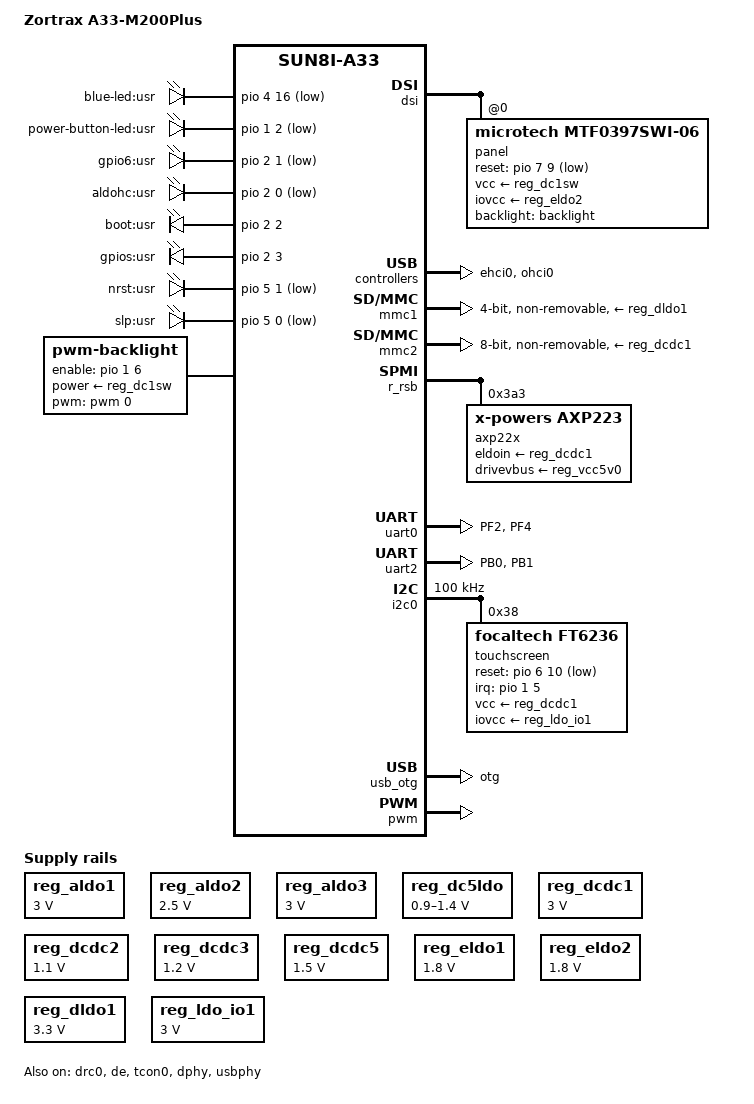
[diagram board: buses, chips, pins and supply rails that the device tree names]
/*
 * Copyright 2016 - Patrick Areny <pataraign@gmail.com>
 *
 *
 * This file is dual-licensed: you can use it either under the terms
 * of the GPL or the X11 license, at your option. Note that this dual
 * licensing only applies to this file, and not this project as a
 * whole.
 *
 *  a) This file is free software; you can redistribute it and/or
 *     modify it under the terms of the GNU General Public License as
 *     published by the Free Software Foundation; either version 2 of the
 *     License, or (at your option) any later version.
 *
 *     This file is distributed in the hope that it will be useful,
 *     but WITHOUT ANY WARRANTY; without even the implied warranty of
 *     MERCHANTABILITY or FITNESS FOR A PARTICULAR PURPOSE.  See the
 *     GNU General Public License for more details.
 *
 * Or, alternatively,
 *
 *  b) Permission is hereby granted, free of charge, to any person
 *     obtaining a copy of this software and associated documentation
 *     files (the "Software"), to deal in the Software without
 *     restriction, including without limitation the rights to use,
 *     copy, modify, merge, publish, distribute, sublicense, and/or
 *     sell copies of the Software, and to permit persons to whom the
 *     Software is furnished to do so, subject to the following
 *     conditions:
 *
 *     The above copyright notice and this permission notice shall be
 *     included in all copies or substantial portions of the Software.
 *
 *     THE SOFTWARE IS PROVIDED "AS IS", WITHOUT WARRANTY OF ANY KIND,
 *     EXPRESS OR IMPLIED, INCLUDING BUT NOT LIMITED TO THE WARRANTIES
 *     OF MERCHANTABILITY, FITNESS FOR A PARTICULAR PURPOSE AND
 *     NONINFRINGEMENT. IN NO EVENT SHALL THE AUTHORS OR COPYRIGHT
 *     HOLDERS BE LIABLE FOR ANY CLAIM, DAMAGES OR OTHER LIABILITY,
 *     WHETHER IN AN ACTION OF CONTRACT, TORT OR OTHERWISE, ARISING
 *     FROM, OUT OF OR IN CONNECTION WITH THE SOFTWARE OR THE USE OR
 *     OTHER DEALINGS IN THE SOFTWARE.
 */

/dts-v1/;
#include "sun8i-a33.dtsi"
#include "sunxi-common-regulators.dtsi"

#include <dt-bindings/gpio/gpio.h>
#include <dt-bindings/pwm/pwm.h>

/ {
	model = "Zortrax A33-M200Plus";
	compatible = "zortrax,a33-m200plus","allwinner,sun8i-a33";

	aliases {
		serial0 = &uart0;   // Console on PF2 and PF4
        serial2 = &uart2;   // MCU connection on PB0 and PB1, if not properly configured, it will mix with UART1 and mess up the uboot console
	};

	chosen {
		stdout-path = "serial0:115200n8";
	};

    leds {
		compatible = "gpio-leds";

		led-green {
			label = "blue-led:usr";
			gpios = <&pio 4 16 GPIO_ACTIVE_LOW>;  // PE16: port E (4), pin 16
		};
		// The power button led control
        power-button-led {
			label = "power-button-led:usr";
			gpios = <&pio 1 2 GPIO_ACTIVE_LOW>;   // PB02: port B (1), pin 2
		};
        
        // Those are not leds but reusing the gpio-leds driver to export them
		led-gpio6 {
			label = "gpio6:usr";
			gpios = <&pio 2 1 GPIO_ACTIVE_LOW>;   // PC01: port C (2), pin 1
		};

		led-aldohc {
			label = "aldohc:usr";
			gpios = <&pio 2 0 GPIO_ACTIVE_LOW>;   // PC00: port C (2), pin 0
		};

		led-boot {
			label = "boot:usr";
			gpios = <&pio 2 2 GPIO_ACTIVE_HIGH>;  // PC02: port C (2), pin 2
		};

		led-gpios {
			label = "gpios:usr";
			gpios = <&pio 2 3 GPIO_ACTIVE_HIGH>;  // PC03: port C (2), pin 3
		};

		led-nrst {
			label = "nrst:usr";
			gpios = <&pio 5 1 GPIO_ACTIVE_LOW>;   // PF01: port F (5), pin 1
		};

		led-slp {
			label = "slp:usr";
			gpios = <&pio 5 0 GPIO_ACTIVE_LOW>;   // PF00: port F (5), pin 0
		};
};
/*
	The mainline kernel has no suport for csi on A33
	csi: camera@1cb0000 {
		compatible = "allwinner,sun8i-a83t-csi";
		reg = <0x01cb0000 0x1000>;
		interrupts = <GIC_SPI 84 IRQ_TYPE_LEVEL_HIGH>;
		clocks = <&ccu CLK_BUS_CSI>,
				<&ccu CLK_CSI_SCLK>,
				<&ccu CLK_DRAM_CSI>;
		clock-names = "bus", "mod", "ram";
		resets = <&ccu RST_BUS_CSI>;
		status = "okay";
		pinctrl-names = "default";
		pinctrl-0 = <&csi_8bit_parallel_pins>;
		port {
			csi_ep: endpoint {
				remote-endpoint = <&gc2145>;
				bus-width = <8>;
				data-shift = <0>;
				hsync-active = <0>;
				vsync-active = <0>;
				pclk-sample = <1>;
			};
		};
	};*/

	backlight: backlight {
		status = "okay";
		compatible = "pwm-backlight";
		pwms = <&pwm 0 50000 PWM_POLARITY_INVERTED>;
		brightness-levels = <0 1 2 3 4 5 6 7 8 9 10 >;
		default-brightness-level = <8>;
		enable-gpios = <&pio 1 6 GPIO_ACTIVE_HIGH>; // PB06
		power-supply = <&reg_dc1sw>;
	};
};

// No audio
&codec {
	status = "disabled";
};

&drc0 {
    status = "okay";
};

&de {
	status = "okay";
};

// gitk config/kernel/linux-sunxi-current.config
// and do not forget to enable CONFIG_TOUCHSCREEN_EDT_FT5X06=y
// this page is great https://docs.armsom.org/interface-usage/screen
// dtc -I fs /proc/device-tree > devicetree.txt
// apt update && sudo apt install libdrm-tests mesa-utils kmscube
//
// https://youtu.be/ML3nHiRdyWw?si=DvBYjZZ03krspNuh
&dsi {
	status = "okay";
	vcc-dsi-supply = <&reg_eldo1>;

	panel@0 {
		status = "okay";
		compatible = "microtech,mtf0397swi-06";
		reg = <0>;
		vcc-supply = <&reg_dc1sw>;
		iovcc-supply = <&reg_eldo2>;
		reset-gpios = <&pio 7 9 GPIO_ACTIVE_LOW>; // PH09
		backlight = <&backlight>;
	};
};

&tcon0 {
	status = "okay";
};

// Mipi dsi dphy
&dphy {
    status = "okay";
};

// Digital Audio Interface
&dai {
	status = "disabled";
};

&ehci0 {
	status = "okay";
};

&ohci0 {
	status = "okay";
};

/* 
// The SDIO pins are not connected.
&mmc0 {
	vmmc-supply = <&reg_dcdc1>;
	bus-width = <4>;
	//cd-gpios = <&pio 1 4 GPIO_ACTIVE_LOW>; PB4
	status = "okay";
};
*/

// For the Wifi chip on rev 1.1
&mmc1 {
	pinctrl-names = "default";
	pinctrl-0 = <&mmc1_pg_pins>;
	vmmc-supply = <&reg_dldo1>;
	bus-width = <4>;
	non-removable;
	status = "okay";
};

&mmc2 {
	pinctrl-names = "default";
	pinctrl-0 = <&mmc2_8bit_pins>;
	vmmc-supply = <&reg_dcdc1>;
	bus-width = <8>;
	non-removable;
	cap-mmc-hw-reset;
	status = "okay";
};

&mmc2_8bit_pins {
	// Increase drive strength for DDR modes
	drive-strength = <40>;
};

&r_rsb {
	status = "okay";
	clock-frequency = <1000000>;

	axp22x: pmic@3a3 {
		compatible = "x-powers,axp223";
		reg = <0x3a3>;
		interrupt-parent = <&r_intc>;
		interrupts = <0 IRQ_TYPE_LEVEL_LOW>;
		eldoin-supply = <&reg_dcdc1>;
		drivevbus-supply = <&reg_vcc5v0>;
		x-powers,drive-vbus-en;
	};
};

#include "axp223.dtsi"

&ac_power_supply {
	status = "okay";
};

&battery_power_supply {
	status = "okay";
};

&reg_aldo1 {
	regulator-always-on;
	regulator-min-microvolt = <3000000>;
	regulator-max-microvolt = <3000000>;
	regulator-name = "vcc-io";
};

&reg_aldo2 {
	regulator-always-on;
	regulator-min-microvolt = <2500000>;
	regulator-max-microvolt = <2500000>;
	regulator-name = "vdd-dll";
};

&reg_aldo3 {
	regulator-always-on;
	regulator-min-microvolt = <3000000>;
	regulator-max-microvolt = <3000000>;
	regulator-name = "vcc-pll-avcc";
};

&reg_dc5ldo {
	regulator-always-on;
	regulator-min-microvolt = <900000>;
	regulator-max-microvolt = <1400000>;
	regulator-name = "vdd-cpus";
};

&reg_dcdc1 {
	regulator-always-on;
	regulator-min-microvolt = <3000000>;
	regulator-max-microvolt = <3000000>;
	regulator-name = "vcc-3v0";
};

&reg_dcdc2 {
	regulator-always-on;
	regulator-min-microvolt = <1100000>;
	regulator-max-microvolt = <1100000>;
	regulator-name = "vdd-sys";
};

&reg_dcdc3 {
	regulator-always-on;
	regulator-min-microvolt = <1200000>;
	regulator-max-microvolt = <1200000>;
	regulator-name = "vdd-cpu";
};

&reg_dcdc5 {
	regulator-always-on;
	regulator-min-microvolt = <1500000>;
	regulator-max-microvolt = <1500000>;
	regulator-name = "vcc-dram";
};

// rf section in the fex file
&reg_eldo1 {
	regulator-always-on;
	regulator-min-microvolt = <1800000>;
	regulator-max-microvolt = <1800000>;
	regulator-name = "vcc-dsi";
};

// Related to lcd and dsi power
&reg_eldo2 {
	regulator-always-on;
	regulator-min-microvolt = <1800000>;
	regulator-max-microvolt = <1800000>;
	regulator-name = "vcc-dsi-iovcc";
};

// Used by the camera in the fex file
&reg_eldo3 {
	status = "disabled"; // replace with regulator-always-on; if the camera is on
	regulator-min-microvolt = <2800000>;
	regulator-max-microvolt = <2800000>;
	regulator-name = "vcc-2v8-csi";
};

&reg_dldo1 {
	regulator-min-microvolt = <3300000>;
	regulator-max-microvolt = <3300000>;
	regulator-name = "vcc-3V3-Wifi_unused";
};

// Wifi chip (not on rev2.&, and you will use a usb wifi dongle instead on rev 1.1)
&reg_dldo2 {
	status = "disabled";
	regulator-min-microvolt = <1800000>;
	regulator-max-microvolt = <1800000>;
	regulator-name = "vcc-1v8-unknownusage_2";
};

// Disabled if no camera connected
&reg_dldo3 {
	status = "disabled"; // remove if the camera is on
	regulator-min-microvolt = <2800000>;
	regulator-max-microvolt = <2800000>;
	regulator-name = "iovdd-2v8-csi";
};

// Disable otherwise the gpio ldo won't output anything
&axp_gpio {
	status = "disabled";
};

&reg_ldo_io0 {
	regulator-always-on;
	regulator-min-microvolt = <2800000>;
	regulator-max-microvolt = <2800000>;
	regulator-name = "ldo_csiavdd";
	status = "disabled"; // remove if the camera is on
};

&reg_ldo_io1 {
	regulator-always-on;
	regulator-min-microvolt = <3000000>;
	regulator-max-microvolt = <3000000>;
	regulator-name = "i2c0-iovcc";
 	status = "okay";
 };

&reg_dc1sw {
	regulator-name = "vcc-lcd";
};

&reg_drivevbus {
	regulator-name = "usb0-vbus";
	status = "okay";
};

&reg_rtc_ldo {
	regulator-name = "vcc-rtc";
};

&usb_power_supply {
    status = "okay";
};

&sound {
 	status = "disabled";
};

// On the a23-a33 dtsi, the UART is on the PF2 and PF4 like in the fex file
// However sun8i-a33.dsi sets it to PB0 and PB1 and it works, we have the console anyway.
// It is because it mixes uart1 and uart2 on PB0 and PB1
&uart0 {
	pinctrl-names = "default";
	pinctrl-0 = <&uart0_pf_pins>;
	status = "okay";
};

// Disabled bluetooth but uses some pins
/*
&uart1 {
	pinctrl-names = "default";
	pinctrl-0 = <&uart1_xfer &uart1_cts &uart1_rts>;
	uart-has-rtscts;
	status = "disabled";

	bluetooth {
		compatible = "brcm,bcm4345c5";
		clocks = <&r 1>;
		clock-names = "lpo";
		max-speed = <1500000>;
		pinctrl-names = "default";
		pinctrl-0 = <&bt_host_wake_pin &bt_wake_pin &bt_reset_pin>;
		vbat-supply = <&wifi_bat>;
		vddio-supply = <&vcc_wl>;
	};
};
*/

&uart2 {
	pinctrl-names = "default";
	pinctrl-0 = <&uart2_pb_pins>;
	status = "okay";
};

/*
[gpio_para]
gpio_used = 1
gpio_pin_1 = port:PB02<1><default><default><0>  pin 3 on P4 -> power button LED
gpio_pin_2 = port:PB03<1><default><default><0>  ?
gpio_pin_3 = port:PE17<1><default><default><1>  ?
gpio_pin_4 = port:PH01<1><default><default><0>  PIN_VALUE_FILE="/sys/class/gpio_sw/PH1/data" 1=USB_slave 0=USB Host in usb_mode_script.sh -> connected to usb ID pin 49 PH08 of the SOM
gpio_pin_5 = port:PC01<1><default><default><0>  Pin named GPIO on P3
gpio_pin_6 = port:PC00<1><default><default><0>  Pin named ALDOHC on P3
gpio_pin_7 = port:PC02<1><default><default><1>  Pin named BOOT on P3
gpio_pin_8 = port:PC03<0><1><default><0>        Pin named GPIOS on P3
gpio_pin_9 = port:PF01<1><default><default><0>  Pin named NRST on P3
gpio_pin_10 = port:PF00<1><default><default><0> Pin named SLP on P3

In uboot:
gpio set 225      # Set PH01 high 1=USB_slave
gpio clear 225    # Set PH01 low  0=USB Host
gpio input 225    # Set PH01 as input (tristate)

p3 = +3V SW LED GND GND GND DP DN VBUS VBUS
SW seems unconnected to the SOM, hence the useless switch on the printer, probably that they did not latch the power off state.

SOM's USBDRVVBUS goes to a transistor that powers VBUS or not

        interrupt-parent = <&pio>;
		interrupts = <1 5 IRQ_TYPE_EDGE_FALLING>; // PB05: port B (1), pin 5

*/

&i2c0 {
	clock-frequency = <100000>;
    status = "okay";

    touchscreen@38 {
        compatible = "focaltech,ft6236";
        reg = <0x38>;
		interrupt-parent = <&pio>;
		interrupts = <1 5 IRQ_TYPE_EDGE_FALLING>; // PB05: port B (1), pin 5
		reset-gpios = <&pio 6 10 GPIO_ACTIVE_LOW>; // PG10: port G (6), pin 10
		vcc-supply = <&reg_dcdc1>;
		iovcc-supply = <&reg_ldo_io1>;
        touchscreen-size-x = <480>;
        touchscreen-size-y = <800>;
        touchscreen-swapped-x-y;
        wakeup-source;
        status = "okay";
    };
};

/* The mainline kernel has no suport for csi on A33
&i2c1 {
    status = "okay";

	camera@42 {
		compatible = "galaxycore,gc2145";
		reg = <0x42>;
		clocks = <&clk_ext_camera>;
		iovdd-supply = <&reg_dldo3>;
		avdd-supply = <&reg_ldo_io0>;
		dvdd-supply = <&reg_eldo2>;
		powerdown-gpios = <&pio 4 14 (GPIO_ACTIVE_LOW | GPIO_PUSH_PULL)>; // PE14
		reset-gpios = <&pio 4 15 (GPIO_ACTIVE_LOW | GPIO_PUSH_PULL)>; // PE15

		port {
			endpoint {
				remote-endpoint = <&mipid02_0>;
				data-lanes = <1 2>;
				link-frequencies = /bits/ 64 <120000000 192000000 240000000>;
			};
		};
	};
};*/

&usb_otg {
	dr_mode = "otg";
	status = "okay";
};

&usb_power_supply {
	status = "okay";
};

&usbphy {
	compatible = "allwinner,sun8i-a23-usb-phy";
    usb0_id_det-gpios = <&pio 7 8 GPIO_ACTIVE_HIGH>; // PH08: port H (7), pin 8
	// VBUS detection from AXP221 internally, no AXP223 GPIO is connected to VBUS
	// does not work usb0_vbus_det-gpio = <&axp_gpio 1 GPIO_ACTIVE_HIGH>; // AXP221 GPIO1 has also the POWER label and toggles at the same time as VBUS on kernel start
	//usb0_vbus_det-gpio = <&axp_gpio 0 GPIO_ACTIVE_HIGH>;
	// Non sense pin
	//usb0_vbus_det-gpio = <&pio 1 3 GPIO_ACTIVE_HIGH>; // PB3 does not work neither
    usb0_vbus-supply = <&reg_dcdc1>;
	//usb1_vbus-supply = <&usb_power_supply>; // USB1 VBUS is always on
    status = "okay";
};

&pwm {
	pinctrl-names = "default";
	pinctrl-0 = <&pwm0_pin>;
	status = "okay";
};

&pio {
    vcc-pa-supply = <&reg_dcdc1>;
    vcc-pb-supply = <&reg_dcdc1>;
    vcc-pc-supply = <&reg_dcdc1>;
    vcc-pd-supply = <&reg_dcdc1>;
    vcc-pe-supply = <&reg_dcdc1>;
    vcc-pf-supply = <&reg_dcdc1>;
    vcc-pg-supply = <&reg_dcdc1>;
	vcc-ph-supply = <&reg_dcdc1>;
	vcc-pl-supply = <&reg_dcdc1>;

    //vcc-pl-supply = <&reg_dldo1>; // Not clear, but reg not found in the kernel start

	uart0_pf_pins: uart0-pf-pins {
		allwinner,pins = "PF2", "PF4";
		allwinner,function = "uart0";
	};

    // MCU connection: PB0/PB1 used for UART2
    uart2_pb_pins: uart2-pb-pins {
		allwinner,pins = "PB0", "PB1";
		allwinner,function = "uart2";
	};
/*
	/omit-if-no-ref/
	csi_8bit_parallel_pins: csi-8bit-parallel-pins {
		pins = "PE0", "PE2", "PE3", "PE6", "PE7",
				"PE8", "PE9", "PE10", "PE11",
				"PE12", "PE13";
		function = "csi";
	};

	/omit-if-no-ref/
	csi_mclk_pin: csi-mclk-pin {
		pins = "PE1";
		function = "csi";
	};*/

/*
    /* PB3 "Clear To Send" in conflict with power button led gpio...
    uart2_cts_rts_pb_pins: uart2-cts-rts-pb-pins {
        pins = "PB2", "PB3";
        function = "uart2";
    };
    */
	/*
    wifi_pwrseq: wifi-pwrseq {
        compatible = "mmc-pwrseq-simple";
        reset-gpios = <&pio 11 6 GPIO_ACTIVE_HIGH>; // PL6
    };

	mmc_pwrseq: mmc-pwrseq {
		compatible = "mmc-pwrseq-simple";
		reset-gpios = <&pio 2 16 GPIO_ACTIVE_HIGH>; // PC16
	};
	*/
    /*
	wireless-bluetooth {
		bt_wake_pin: bt-wake-pin {
			allwinner,pins = <11 10 GPIO_ACTIVE_HIGH &pcfg_pull_none>;
		};

		bt_host_wake_pin: bt-host-wake-pin {
			allwinner,pins = <11 9 GPIO_ACTIVE_HIGH &pcfg_pull_none>;
		};

		bt_reset_pin: bt-reset-pin {
			allwinner,pins = <11 8 GPIO_ACTIVE_HIGH &pcfg_pull_none>;
		};
	};
    */
};
